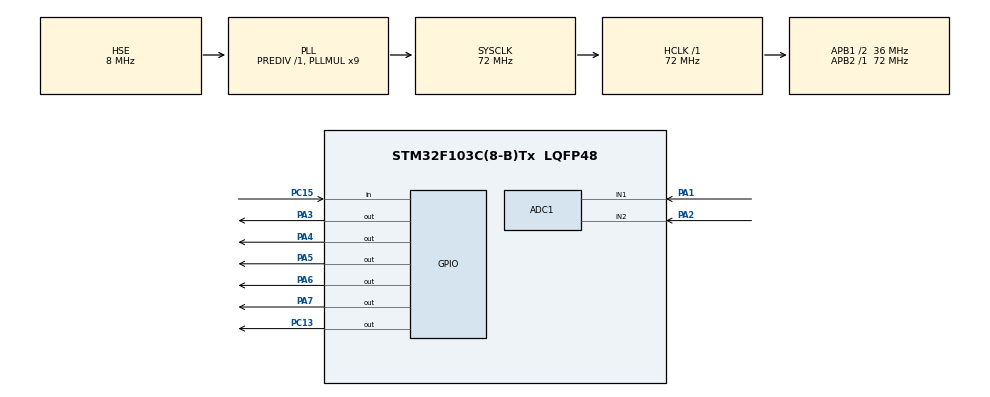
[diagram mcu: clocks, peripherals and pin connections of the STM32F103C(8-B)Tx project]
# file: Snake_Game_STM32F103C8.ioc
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ADC1.Channel-5\#ChannelRegularConversion=ADC_CHANNEL_1
ADC1.Channel-6\#ChannelRegularConversion=ADC_CHANNEL_2
ADC1.ContinuousConvMode=ENABLE
ADC1.NbrOfConversion=2
ADC1.NbrOfConversionFlag=1
ADC1.Rank-5\#ChannelRegularConversion=1
ADC1.Rank-6\#ChannelRegularConversion=2
ADC1.SamplingTime-5\#ChannelRegularConversion=ADC_SAMPLETIME_239CYCLES_5
ADC1.SamplingTime-6\#ChannelRegularConversion=ADC_SAMPLETIME_239CYCLES_5
ADC1.master=1
Dma.ADC1.0.Direction=DMA_PERIPH_TO_MEMORY
Dma.ADC1.0.Instance=DMA1_Channel1
Dma.ADC1.0.MemDataAlignment=DMA_MDATAALIGN_WORD
Dma.ADC1.0.MemInc=DMA_MINC_ENABLE
Dma.ADC1.0.Mode=DMA_CIRCULAR
Dma.ADC1.0.PeriphDataAlignment=DMA_PDATAALIGN_WORD
Dma.ADC1.0.PeriphInc=DMA_PINC_DISABLE
Dma.ADC1.0.Priority=DMA_PRIORITY_LOW
Dma.Request0=ADC1
FREERTOS.MEMORY_ALLOCATION=2
FREERTOS.Tasks01=defaultTask,0,128,StartDefaultTask,Default,NULL,Static,defaultTaskBuffer,defaultTaskControlBlock
FREERTOS.configMAX_TASK_NAME_LEN=30
FREERTOS.configTOTAL_HEAP_SIZE=0x3000
FREERTOS.configUSE_NEWLIB_REENTRANT=1
Mcu.Family=STM32F1
Mcu.Name=STM32F103C(8-B)Tx
Mcu.Package=LQFP48
NVIC.ADC1_2_IRQn=true\:5\:0\:false\:false\:true\:true\:true\:true
NVIC.DMA1_Channel1_IRQn=true\:5\:0\:false\:false\:true\:true\:false\:true
NVIC.PriorityGroup=NVIC_PRIORITYGROUP_4
NVIC.TIM4_IRQn=true\:0\:0\:false\:false\:true\:false\:false\:true
NVIC.TimeBase=TIM4_IRQn
NVIC.TimeBaseIP=TIM4
PA1.Signal=ADCx_IN1
PA13.Mode=Serial_Wire
PA13.Signal=SYS_JTMS-SWDIO
PA14.Mode=Serial_Wire
PA14.Signal=SYS_JTCK-SWCLK
PA2.Signal=ADCx_IN2
PA3.Signal=GPIO_Output
PA4.Signal=GPIO_Output
PA5.Signal=GPIO_Output
PA6.Signal=GPIO_Output
PA7.Signal=GPIO_Output
PC13-TAMPER-RTC.Signal=GPIO_Output
PC15-OSC32_OUT.GPIO_PuPd=GPIO_PULLUP
PC15-OSC32_OUT.Signal=GPIO_Input
PD0-OSC_IN.Mode=HSE-External-Oscillator
PD0-OSC_IN.Signal=RCC_OSC_IN
PD1-OSC_OUT.Mode=HSE-External-Oscillator
PD1-OSC_OUT.Signal=RCC_OSC_OUT
ProjectManager.HeapSize=0x200
ProjectManager.StackSize=0x400
ProjectManager.TargetToolchain=STM32CubeIDE
RCC.ADCPresc=RCC_ADCPCLK2_DIV6
RCC.AHBFreq_Value=72000000
RCC.APB1CLKDivider=RCC_HCLK_DIV2
RCC.APB1Freq_Value=36000000
RCC.APB1TimFreq_Value=72000000
RCC.APB2Freq_Value=72000000
RCC.APB2TimFreq_Value=72000000
RCC.HCLKFreq_Value=72000000
RCC.PLLMUL=RCC_PLL_MUL9
RCC.PLLSourceVirtual=RCC_PLLSOURCE_HSE
RCC.SYSCLKFreq_VALUE=72000000
RCC.SYSCLKSource=RCC_SYSCLKSOURCE_PLLCLK
RCC.USBFreq_Value=72000000
SH.ADCx_IN1.0=ADC1_IN1,IN1
SH.ADCx_IN2.0=ADC1_IN2,IN2
VP_FREERTOS_VS_CMSIS_V1.Mode=CMSIS_V1
VP_SYS_VS_tim4.Mode=TIM4
board=FreeRTOS_LC5110_Joystick

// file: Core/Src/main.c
/* USER CODE BEGIN Header */
/**
  ******************************************************************************
  * @file           : main.c
  * @brief          : Main program body
  ******************************************************************************
  * @attention
  *
  * <h2><center>&copy; Copyright (c) 2022 STMicroelectronics.
  * All rights reserved.</center></h2>
  *
  * This software component is licensed by ST under Ultimate Liberty license
  * SLA0044, the "License"; You may not use this file except in compliance with
  * the License. You may obtain a copy of the License at:
  *                             www.st.com/SLA0044
  *
  ******************************************************************************
  */
/* USER CODE END Header */
#include "main.h"
#include "cmsis_os.h"

/* USER CODE BEGIN Includes */
#include "atraso.h"
#include "defPrincipais.h"
#include "NOKIA5110_fb.h"
#include "figuras.h"
#include "PRNG_LFSR.h"
#include "snake_utils.h"
/* USER CODE END Includes */

ADC_HandleTypeDef hadc1;
DMA_HandleTypeDef hdma_adc1;

//osThreadId defaultTaskHandle;
//uint32_t defaultTaskBuffer[ 128 ];
//osStaticThreadDef_t defaultTaskControlBlock;
/* USER CODE BEGIN PV */
uint32_t ADC_buffer[2];
uint32_t ADC_value[2];

// own code
struct pontos_t fruit;
cobra_t snake_player;

xTaskHandle xTaskFruitHandle;
xTaskHandle xTaskPointsHandle;
xTaskHandle xTaskSnakeHandle;
xTaskHandle xTaskMenuHandle;
xTaskHandle xTaskGameOverHandle;
xTaskHandle xTaskLCDHandle;

diff_t set_difficulty = med;
// ------------------

/* USER CODE END PV */

void SystemClock_Config(void);
static void MX_GPIO_Init(void);
static void MX_DMA_Init(void);
static void MX_ADC1_Init(void);
void StartDefaultTask(void const * argument);

/* USER CODE BEGIN 0 */
void HAL_ADC_ConvCpltCallback(ADC_HandleTypeDef *hadc)
{
	if(hadc->Instance == ADC1)
	{
		ADC_value[0]=ADC_buffer[0];
		ADC_value[1]=ADC_buffer[1];
	}
}

//---------------------------------------------------------------------------------------------------
// Tarefa para atualizar periodicamente o LCD
void vTask_LCD_Print(void *pvParameters)
{
	while(1) imprime_LCD();
}

/* Funcao pra gerar uma fruta em um local aleatorio. Utiliza o LFSR pra gerar a aleatoriedade.
 * A multiplicacao e soma em 4 serve para nao passar dos limites de altura e largura da tela.
 * A task é criada via Aumenta_Ponto, que é criada quando tem uma colisao da fruta com a cobra.
 * Após desenhar a fruta, a task é deletada.
 * */
void vTask_Create_Fruit(void *pvParameters)
{
	static uint32_t x, y;
	uint32_t flag;
	do {
		flag = 0;
		x = (prng_LFSR() % 19) * 4 + 4;
		y = (prng_LFSR() % 9) * 4 + 4;
		// gambiarra. Se puder checar o pixel é mais fácil.
		for (uint32_t i = 0; i < snake_player.size; i++) {
			if (x == snake_player.node_x[i] && y == snake_player.node_y[i])
				break;
			else flag++;
		}
	} while (flag != snake_player.size);

	fruit.x1 = x; fruit.y1 = y;
	desenha_fig(&fruit, &drawing_fruit);

	vTaskDelete(xTaskFruitHandle);
}

/* Funcao para aumentar o tamanho da cobra, e por consequencia aumentar a pontuacao do jogador.
 * A task simplesmente cria a task de gerar fruta para fazer uma nova após detectada a colisão.
 * Após gerar a nova task, ela é deletada.
 */
void vTask_Add_Score(void *pvParameters)
{
	snake_player.size++;
	xTaskCreate(vTask_Create_Fruit, "Cria fruta", 128, NULL, osPriorityAboveNormal, &xTaskFruitHandle);
	vTaskDelay(20);
	vTaskDelete(xTaskPointsHandle);
}

/* Funcao para limpar a tela e mostrar a pontuação final.
 * Como o tamanho é uma variável inteira, é necessário utilizar snprintf (ou sprintf) para jogar o valor inteiro
 * para um buffer. É feito o print do buffer via string_lcd.
 * A funcao impede que as outras aconteçam pois após gerar ela, a funcao de movimento é deletada.
 */
void vTask_Game_Over(void *pvParameters)
{
	inic_LCD();
	char buffer[3];
	snake_player.points = snake_player.size - (INITIAL_SIZE + 1);
	snprintf(buffer, 3, "%d", snake_player.points);
	limpa_LCD();

	// nao mexer nisso
	while (HAL_GPIO_ReadPin(GPIOC, GPIO_PIN_15)) {
		goto_XY(10, 1);
		string_LCD("Score: ");
		goto_XY(10, 3);
		string_LCD(buffer);
		imprime_LCD();
	}

	NVIC_SystemReset();
}

/* Funcao que move a cobra, define direcao via eixo do joystick e faz o calculo de colisao.
 * É gerado um x e y iniciais para a cobra e uma direção (direita). O x e y precisam ser multiplos
 * de 4 para funcionar o calculo de deslocamento. É definido entao o tamanho inicial da cobra e após isso
 * a task fica no while(1) movendo a cobra e checando colisoes.
 * As colisoes sao testadas para cada no da cobra, ou seja, se ela encostar em qualquer parte do corpo o jogo acaba.
 * O jogo também acaba se a cobra bater na parede.
 * É nessa funcao tambem que é calculada a colisao da cabeca com a fruta.
 */
void vTask_Move_Snake_Player(void *pvParameters)
{
	// array de tempos de delay para a dificuldade
	uint32_t time_delay[3] = {200, 120, 70};

	// 6 -> direita, 4 -> esquerda, 8 -> cima, 2 -> baixo
	snake_player.direction = 6;

	// x e y tem que ser multiplos de 4 para nao dar problema com a colisao
	static uint32_t x = 8, y = 16;

	static int32_t diff_x_axis, diff_y_axis;

	snake_player.snake_coordinates.x2 = 0; snake_player.snake_coordinates.y2 = 0;
	snake_player.snake_coordinates.x3 = 0; snake_player.snake_coordinates.y3 = 0;

	// tamanho inicial da cobra
	snake_player.size = INITIAL_SIZE;

	// define posicao inicial da cabeca da cobra
	snake_player.node_x[0] = x;
	snake_player.node_y[0] = y;

	while(1)
	{
		diff_x_axis = 2048 - ADC_value[0];
		diff_y_axis = 2048 - ADC_value[1];

		// esse bloco de if else vai definir a direção do movimento
		if (diff_x_axis < -200){
			if (snake_player.direction != 6){ // nao pode trocar de esquerda para direita
				snake_player.direction = 4;
			}
		}
		else if (diff_x_axis > 200){
			if (snake_player.direction != 4){
				snake_player.direction = 6;
			}
		}
		else if (diff_y_axis < -200){
			if (snake_player.direction != 8){
				snake_player.direction = 2;
			}
		}
		else if (diff_y_axis > 200){
			if (snake_player.direction != 2){
				snake_player.direction = 8;
			}
		}

		// o switch faz com que a cobra continue andando na direcao escolhida
		switch (snake_player.direction) {
		case 2:
			if (y + 4 > 40) y = 40; // situaçoes de borda, para calcular colisao depois
			else y+=4;
			break;
		case 8:
			if (y == 0) y = 0;
			else y-=4;
			break;
		case 4:
			if (x == 0) x = 0;
			else x-=4;
			break;
		case 6:
			if (x + 4 > 80) x = 80;
			else x+=4;
			break;
		}
		//update dos nos
		for (uint32_t i = MAX_SIZE - 1; i != 0; i--) {
			snake_player.node_x[i] = snake_player.node_x[i-1];
			snake_player.node_y[i] = snake_player.node_y[i-1];
		}
		//update na cabeca
		snake_player.node_x[0] = x;
		snake_player.node_y[0] = y;

		for (uint32_t i = 0; i < snake_player.size; i++) {
			// joga o vetor com base no tamanho para o buffer
			snake_player.snake_coordinates.x1 = snake_player.node_x[i];
			snake_player.snake_coordinates.y1 = snake_player.node_y[i];

			// para cada iteracao do for, desenha o corpo da cobra
			desenha_fig(&snake_player.snake_coordinates, &snake);

			// checa colisao com a propria cobra, comecando pelo nó pós cabeca
			if ((snake_player.node_x[0] == snake_player.node_x[i]) && (snake_player.node_y[0] == snake_player.node_y[i]) && i > 0)
			{
				xTaskCreate(vTask_Game_Over, "Game over", 256, NULL, osPriorityNormal, &xTaskGameOverHandle);
				vTaskDelete(xTaskLCDHandle);
				vTaskDelete(xTaskSnakeHandle);
			}

			// condiçao para apagar o rabo: tamanho - i tem que ser 1.
			// tamanho 3, i = 2, no_x[2] = tamanho 3
			if ((snake_player.size - i) == 1) {
				desenha_fig(&snake_player.snake_coordinates, &delete_snake);
			}
		}

		// checa colisão da cobra com a fruta
		if (snake_player.node_x[0] == fruit.x1 && snake_player.node_y[0] == fruit.y1)
		{
			xTaskCreate(vTask_Add_Score, "Ponto", 128, NULL, osPriorityNormal, &xTaskPointsHandle);
		}

		// velocidade do jogo (dificuldade)
		vTaskDelay(time_delay[set_difficulty]);
		}
	}

/* Funcao que inicia o programa. Tem um seletor de dificuldade que altera o tempo de delay da funcao de movimento.
 * Apos selecionar a dificuldade e pressionar o botao do meio, a tarefa inicializa as outras tarefas
 * principais para o funcionamento do jogo, e no final se deleta.
 */
void vTask_Main_Menu(void *pvParameters)
{
	uint32_t seed_PRNG=1;

	static int32_t diff_x_axis;

	vTaskDelay(200);
	while(HAL_GPIO_ReadPin(GPIOC, GPIO_PIN_15))// quando pressionar a tecla comeca o jogo
	{
		diff_x_axis = 2048 - ADC_value[0];

		if (diff_x_axis < -200) {
			if (set_difficulty != easy)
				set_difficulty--;
			else
				set_difficulty = easy;
		}
		else if (diff_x_axis > 200) {
			if (set_difficulty != hard)
				set_difficulty++;
			else
				set_difficulty = hard;
		}

		limpa_LCD();
		seed_PRNG++;
		goto_XY(8, 1);
		string_LCD("Dificuldade: ");
		if (set_difficulty == easy) {
			goto_XY(25, 3);
			string_LCD("Facil");
		}
		else if (set_difficulty == med) {
			goto_XY(25,3);
			string_LCD("Medio");
		}
		else if (set_difficulty == hard) {
			goto_XY(21, 3);
			string_LCD("Dificil");
		}
		imprime_LCD();
		vTaskDelay(200);
	}
	init_LFSR(seed_PRNG);	// inicializacao para geracao de numeros pseudoaleatorios
	limpa_LCD();

	xTaskCreate(vTask_LCD_Print, "LCD_print", 128, NULL, osPriorityNormal, &xTaskLCDHandle);
	xTaskCreate(vTask_Move_Snake_Player, "Snake", 256, NULL, osPriorityAboveNormal, &xTaskSnakeHandle);
	xTaskCreate(vTask_Add_Score, "Ponto", 128, NULL, osPriorityNormal, &xTaskPointsHandle);

	vTaskDelete(xTaskMenuHandle);
}

/* USER CODE END 0 */

int main(void)
{

  /* MCU Configuration--------------------------------------------------------*/

  /* Reset of all peripherals, Initializes the Flash interface and the Systick. */
  HAL_Init();

  /* Configure the system clock */
  SystemClock_Config();

  /* Initialize all configured peripherals */
  MX_GPIO_Init();
  MX_DMA_Init();
  MX_ADC1_Init();
  /* USER CODE BEGIN 2 */

	HAL_ADC_Start_DMA(&hadc1,(uint32_t*)ADC_buffer,2);
	HAL_ADC_Start_IT(&hadc1);

	// inicializa LCD 5110
	inic_LCD();
	limpa_LCD();

	// -----------------------------------------

  /* USER CODE END 2 */

  /* Create the thread(s) */
  /* definition and creation of defaultTask */
  //osThreadStaticDef(defaultTask, StartDefaultTask, osPriorityNormal, 0, 128, defaultTaskBuffer, &defaultTaskControlBlock);
 // defaultTaskHandle = osThreadCreate(osThread(defaultTask), NULL);

  /* USER CODE BEGIN RTOS_THREADS */
  /* add threads, ... */

	xTaskCreate(vTask_Main_Menu, "Menu principal", 256, NULL, osPriorityNormal, &xTaskMenuHandle);

  /* USER CODE END RTOS_THREADS */

  /* Start scheduler */
  osKernelStart();

  /* We should never get here as control is now taken by the scheduler */
  /* Infinite loop */
  while (1)
  {

  }
}

void SystemClock_Config(void)
{
  RCC_OscInitTypeDef RCC_OscInitStruct = {0};
  RCC_ClkInitTypeDef RCC_ClkInitStruct = {0};
  RCC_PeriphCLKInitTypeDef PeriphClkInit = {0};

  /** Initializes the RCC Oscillators according to the specified parameters
  * in the RCC_OscInitTypeDef structure.
  */
  RCC_OscInitStruct.OscillatorType = RCC_OSCILLATORTYPE_HSE;
  RCC_OscInitStruct.HSEState = RCC_HSE_ON;
  RCC_OscInitStruct.HSEPredivValue = RCC_HSE_PREDIV_DIV1;
  RCC_OscInitStruct.HSIState = RCC_HSI_ON;
  RCC_OscInitStruct.PLL.PLLState = RCC_PLL_ON;
  RCC_OscInitStruct.PLL.PLLSource = RCC_PLLSOURCE_HSE;
  RCC_OscInitStruct.PLL.PLLMUL = RCC_PLL_MUL9;
  if (HAL_RCC_OscConfig(&RCC_OscInitStruct) != HAL_OK)
  {
    Error_Handler();
  }
  /** Initializes the CPU, AHB and APB buses clocks
  */
  RCC_ClkInitStruct.ClockType = RCC_CLOCKTYPE_HCLK|RCC_CLOCKTYPE_SYSCLK
                              |RCC_CLOCKTYPE_PCLK1|RCC_CLOCKTYPE_PCLK2;
  RCC_ClkInitStruct.SYSCLKSource = RCC_SYSCLKSOURCE_PLLCLK;
  RCC_ClkInitStruct.AHBCLKDivider = RCC_SYSCLK_DIV1;
  RCC_ClkInitStruct.APB1CLKDivider = RCC_HCLK_DIV2;
  RCC_ClkInitStruct.APB2CLKDivider = RCC_HCLK_DIV1;

  if (HAL_RCC_ClockConfig(&RCC_ClkInitStruct, FLASH_LATENCY_2) != HAL_OK)
  {
    Error_Handler();
  }
  PeriphClkInit.PeriphClockSelection = RCC_PERIPHCLK_ADC;
  PeriphClkInit.AdcClockSelection = RCC_ADCPCLK2_DIV6;
  if (HAL_RCCEx_PeriphCLKConfig(&PeriphClkInit) != HAL_OK)
  {
    Error_Handler();
  }
}

static void MX_ADC1_Init(void)
{

  ADC_ChannelConfTypeDef sConfig = {0};

  /** Common config
  */
  hadc1.Instance = ADC1;
  hadc1.Init.ScanConvMode = ADC_SCAN_ENABLE;
  hadc1.Init.ContinuousConvMode = ENABLE;
  hadc1.Init.DiscontinuousConvMode = DISABLE;
  hadc1.Init.ExternalTrigConv = ADC_SOFTWARE_START;
  hadc1.Init.DataAlign = ADC_DATAALIGN_RIGHT;
  hadc1.Init.NbrOfConversion = 2;
  if (HAL_ADC_Init(&hadc1) != HAL_OK)
  {
    Error_Handler();
  }
  /** Configure Regular Channel
  */
  sConfig.Channel = ADC_CHANNEL_1;
  sConfig.Rank = ADC_REGULAR_RANK_1;
  sConfig.SamplingTime = ADC_SAMPLETIME_239CYCLES_5;
  if (HAL_ADC_ConfigChannel(&hadc1, &sConfig) != HAL_OK)
  {
    Error_Handler();
  }
  /** Configure Regular Channel
  */
  sConfig.Channel = ADC_CHANNEL_2;
  sConfig.Rank = ADC_REGULAR_RANK_2;
  if (HAL_ADC_ConfigChannel(&hadc1, &sConfig) != HAL_OK)
  {
    Error_Handler();
  }

}

static void MX_DMA_Init(void)
{

  /* DMA controller clock enable */
  __HAL_RCC_DMA1_CLK_ENABLE();

  /* DMA interrupt init */
  /* DMA1_Channel1_IRQn interrupt configuration */
  HAL_NVIC_SetPriority(DMA1_Channel1_IRQn, 5, 0);
  HAL_NVIC_EnableIRQ(DMA1_Channel1_IRQn);

}

static void MX_GPIO_Init(void)
{
  GPIO_InitTypeDef GPIO_InitStruct = {0};

  /* GPIO Ports Clock Enable */
  __HAL_RCC_GPIOC_CLK_ENABLE();
  __HAL_RCC_GPIOD_CLK_ENABLE();
  __HAL_RCC_GPIOA_CLK_ENABLE();

  /*Configure GPIO pin Output Level */
  HAL_GPIO_WritePin(GPIOC, GPIO_PIN_13, GPIO_PIN_RESET);

  /*Configure GPIO pin Output Level */
  HAL_GPIO_WritePin(GPIOA, GPIO_PIN_3|GPIO_PIN_4|GPIO_PIN_5|GPIO_PIN_6
                          |GPIO_PIN_7, GPIO_PIN_RESET);

  /*Configure GPIO pin : PC13 */
  GPIO_InitStruct.Pin = GPIO_PIN_13;
  GPIO_InitStruct.Mode = GPIO_MODE_OUTPUT_PP;
  GPIO_InitStruct.Pull = GPIO_NOPULL;
  GPIO_InitStruct.Speed = GPIO_SPEED_FREQ_LOW;
  HAL_GPIO_Init(GPIOC, &GPIO_InitStruct);

  /*Configure GPIO pin : PC15 */
  GPIO_InitStruct.Pin = GPIO_PIN_15;
  GPIO_InitStruct.Mode = GPIO_MODE_INPUT;
  GPIO_InitStruct.Pull = GPIO_PULLUP;
  HAL_GPIO_Init(GPIOC, &GPIO_InitStruct);

  /*Configure GPIO pins : PA3 PA4 PA5 PA6
                           PA7 */
  GPIO_InitStruct.Pin = GPIO_PIN_3|GPIO_PIN_4|GPIO_PIN_5|GPIO_PIN_6
                          |GPIO_PIN_7;
  GPIO_InitStruct.Mode = GPIO_MODE_OUTPUT_PP;
  GPIO_InitStruct.Pull = GPIO_NOPULL;
  GPIO_InitStruct.Speed = GPIO_SPEED_FREQ_LOW;
  HAL_GPIO_Init(GPIOA, &GPIO_InitStruct);

}

void StartDefaultTask(void const * argument)
{
  for(;;)
  {
    osDelay(1);
  }
}

void HAL_TIM_PeriodElapsedCallback(TIM_HandleTypeDef *htim)
{
  if (htim->Instance == TIM4) {
    HAL_IncTick();
  }
}

void Error_Handler(void)
{
  __disable_irq();
  while (1)
  {
  }
}
